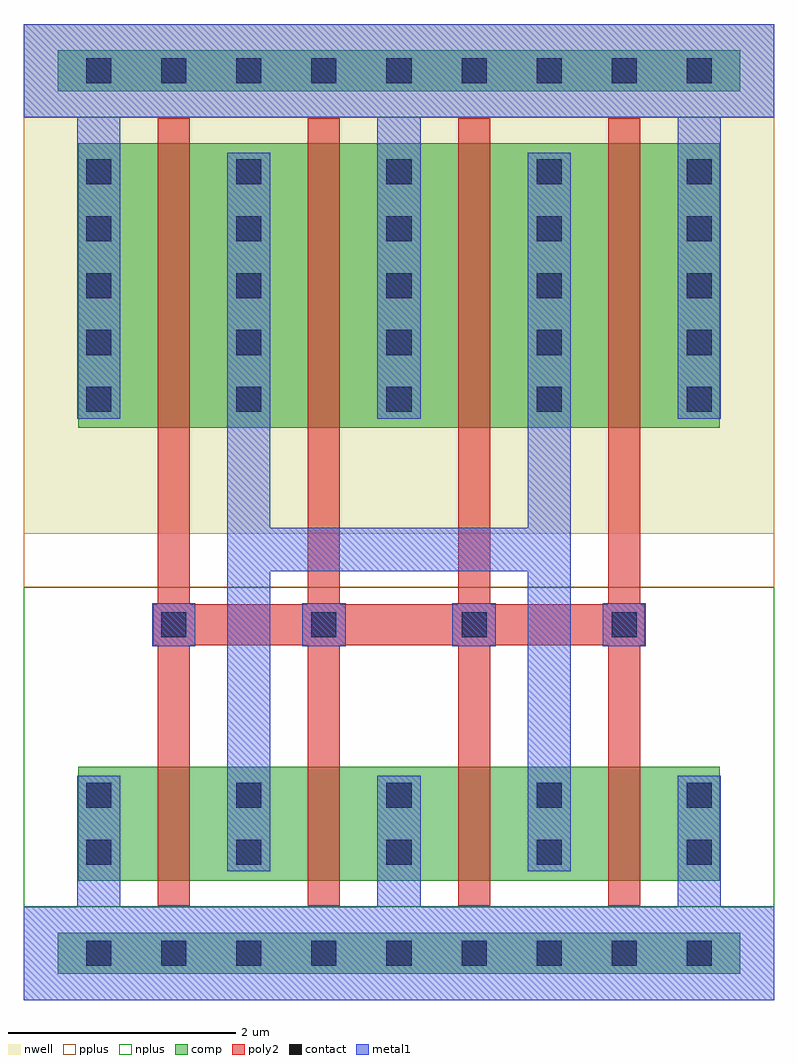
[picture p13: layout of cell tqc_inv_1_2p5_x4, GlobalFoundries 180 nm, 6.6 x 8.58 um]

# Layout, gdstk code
import gdstk
lib = gdstk.Library(unit=1e-6, precision=1e-09)
def R(c, l, rs):  # rectangles x0, y0, x1, y1
    for r in rs: c.add(gdstk.rectangle(r[:2], r[2:], *l))
def A(c, l, x, y, w, h, nx, ny, dx, dy):  # array of equal rectangles
    R(c, l, [(x+i*dx, y+j*dy, x+i*dx+w, y+j*dy+h) for i in range(nx) for j in range(ny)])
nwell = (21, 0)
comp = (22, 0)
poly2 = (30, 0)
pplus = (31, 0)
nplus = (32, 0)
contact = (33, 0)
metal1 = (34, 0)

tqc_inv_1_2p5_x4 = lib.new_cell('tqc_inv_1_2p5_x4')
R(tqc_inv_1_2p5_x4, nwell, [(0,4.1,6.6,8.58)])
R(tqc_inv_1_2p5_x4, comp, [(0.3,0.23,6.3,0.59), (0.48,1.05,6.12,2.05), (0.48,5.03,6.12,7.53), (0.3,7.99,6.3,8.35)])
A(tqc_inv_1_2p5_x4, poly2, 1.18, 0.83, 0.28, 6.92, 4, 1, 1.32, 0)
A(tqc_inv_1_2p5_x4, poly2, 1.14, 3.12, 0.36, 0.36, 4, 1, 1.32, 0)
A(tqc_inv_1_2p5_x4, poly2, 1.32, 3.12, 1.32, 0.36, 3, 1, 1.32, 0)
R(tqc_inv_1_2p5_x4, pplus, [(0,0,6.6,0.82), (0,3.63,6.6,7.76)])
R(tqc_inv_1_2p5_x4, nplus, [(0,0.82,6.6,3.63), (0,7.76,6.6,8.58)])
A(tqc_inv_1_2p5_x4, contact, 0.55, 0.3, 0.22, 0.22, 9, 2, 0.66, 7.76)
A(tqc_inv_1_2p5_x4, contact, 0.55, 1.19, 0.22, 0.22, 5, 2, 1.32, 0.5)
A(tqc_inv_1_2p5_x4, contact, 1.21, 3.19, 0.22, 0.22, 4, 1, 1.32, 0)
A(tqc_inv_1_2p5_x4, contact, 0.55, 5.17, 0.22, 0.22, 5, 5, 1.32, 0.5)
A(tqc_inv_1_2p5_x4, metal1, 0.47, 0, 0.38, 1.97, 3, 1, 2.64, 0)
A(tqc_inv_1_2p5_x4, metal1, 1.13, 3.11, 0.38, 0.38, 4, 1, 1.32, 0)
A(tqc_inv_1_2p5_x4, metal1, 0.47, 5.11, 0.38, 3.47, 3, 1, 2.64, 0)
R(tqc_inv_1_2p5_x4, metal1, [(0,0,6.6,0.82), (1.79,1.13,2.17,1.97), (4.43,1.13,4.81,1.97), (1.79,1.87,2.17,4.15), (4.43,1.87,4.81,4.15), (1.79,3.77,4.81,4.15), (1.79,3.77,2.17,5.21), (4.43,3.77,4.81,5.21), (1.79,5.11,2.17,7.45), (4.43,5.11,4.81,7.45), (0,7.76,6.6,8.58)])

lib.write_gds('tqc_inv_1_2p5_x4.gds')
